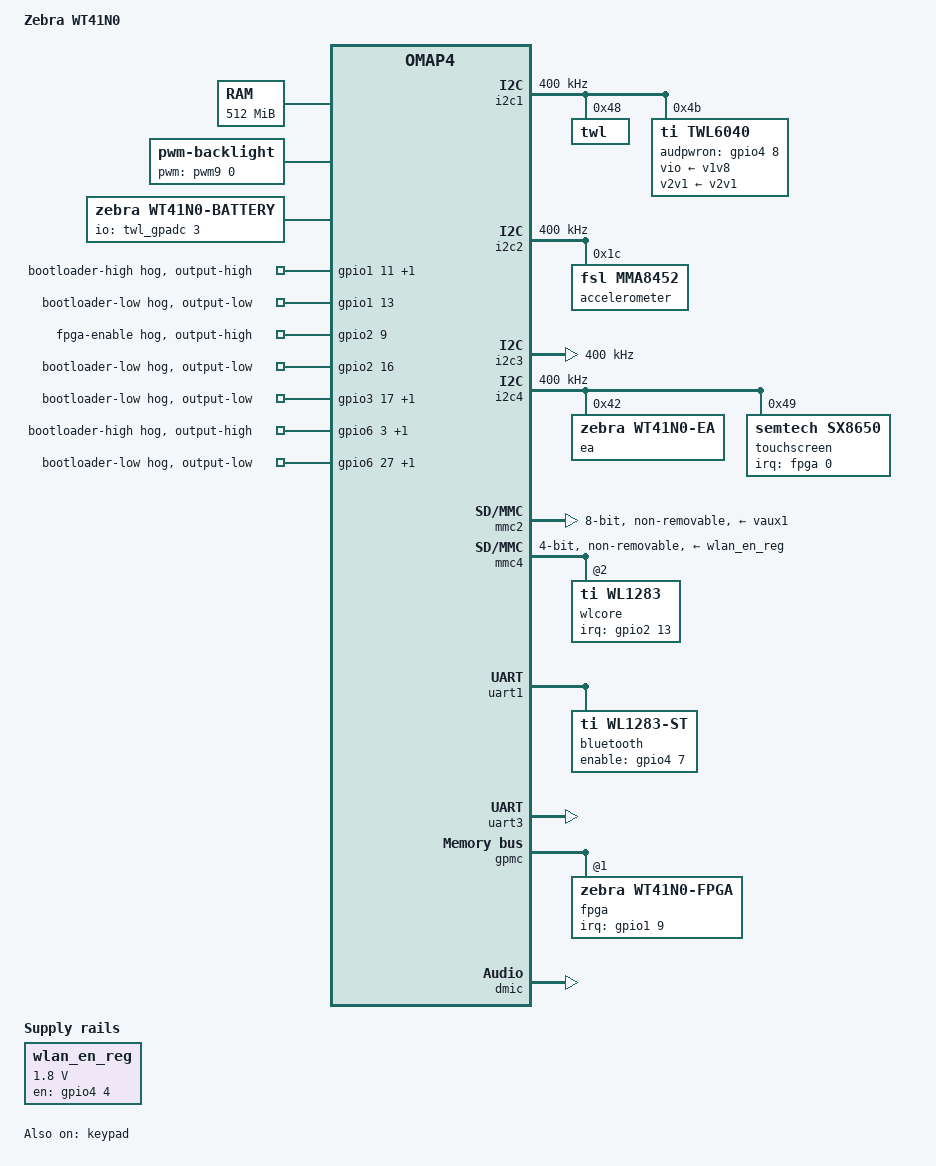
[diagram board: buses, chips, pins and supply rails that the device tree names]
// SPDX-License-Identifier: GPL-2.0
/*
 * Zebra / Symbol WT41N0 wearable terminal (TI OMAP4430 ES2.3, 512 MiB).
 *
 * The board is started by the Symbol monitor through a small loader, not by
 * U-Boot: pads, DDR, the display controller and the LCD are left as the stock
 * bootloader configured them, and this file relies on that state. There are
 * deliberately almost no pinmux entries.
 *
 * Hardware reference: docs/hardware.md in the WT41N0 Buildroot BSP.
 */
/dts-v1/;

#include "omap443x.dtsi"
#include <dt-bindings/gpio/gpio.h>
#include <dt-bindings/interrupt-controller/irq.h>
#include <dt-bindings/input/input.h>

/ {
	model = "Zebra WT41N0";
	compatible = "zebra,wt41n0", "ti,omap4430", "ti,omap4";

	memory@80000000 {
		device_type = "memory";
		reg = <0x80000000 0x20000000>;
	};

	aliases {
		serial2 = &uart3;
		display0 = &framebuffer;
	};

	reserved-memory {
		#address-cells = <1>;
		#size-cells = <1>;
		ranges;

		remoteproc_region: remoteproc@96b00000 {
			reg = <0x96b00000 0x500000>;
			no-map;
		};

		/* 0x25800 bytes of framebuffer plus the scratch block of the
		 * low-level LCD debug console, rounded up to 256 KiB. */
		framebuffer_region: framebuffer@9b000000 {
			reg = <0x9b000000 0x40000>;
			no-map;
		};
	};

	chosen {
		#address-cells = <1>;
		#size-cells = <1>;
		ranges;		/* required so the framebuffer reg becomes a resource */
		stdout-path = "display0";
		/*
		 * Fixed part of the command line; the BSP's post-image script
		 * appends the verbosity options and sets linux,initrd-end.
		 *  - cpuidle.off=1: no broadcast clockevent yet, deep idle
		 *    states lose timers.
		 *  - fbcon rotate:3: the 320x240 panel is scanned out of a
		 *    240x320 buffer rotated by 90 degrees.
		 *  - clk_ignore_unused / pd_ignore_unused: the display runs on
		 *    clocks and domains the bootloader enabled; never gate them.
		 *  - cpufreq.default_governor=userspace: the CPU stays at the
		 *    bootloader's 600 MHz until S01cpufreq has set the voltage the
		 *    faster speeds need (see &cpu0 below).
		 */
		bootargs = "cpuidle.off=1 console=tty1 fbcon=font:VGA8x8,rotate:3 clk_ignore_unused pd_ignore_unused cpufreq.default_governor=userspace";
		linux,initrd-start = <0x89000000>;
		linux,initrd-end = <0x89000000>;	/* set by post-image */

		framebuffer: framebuffer@9b000000 {
			compatible = "simple-framebuffer";
			reg = <0x9b000000 0x25800>;
			width = <240>;
			height = <320>;
			stride = <480>;
			format = "r5g6b5";
			/* Hold every DSS clock the bootloader left running. */
			clocks = <&l3_dss_clkctrl OMAP4_DSS_CORE_CLKCTRL 0>,
				 <&l3_dss_clkctrl OMAP4_DSS_CORE_CLKCTRL 8>,
				 <&l3_dss_clkctrl OMAP4_DSS_CORE_CLKCTRL 9>,
				 <&l3_dss_clkctrl OMAP4_DSS_CORE_CLKCTRL 10>,
				 <&l3_dss_clkctrl OMAP4_DSS_CORE_CLKCTRL 11>;
			power-domains = <&prm_dss>;
		};
	};

	/* LCD backlight: timer 9 PWM at 180 Hz from the 38.4 MHz system
	 * clock, high time = brightness, 2 to 98 % duty. */
	pwm9: pwm-9 {
		compatible = "ti,omap-dmtimer-pwm";
		#pwm-cells = <3>;
		ti,timers = <&timer9>;
		ti,clock-source = <0x00>;		/* OMAP_TIMER_SRC_SYS_CLK */
		pinctrl-names = "default";
		pinctrl-0 = <&backlight_pwm_pins>;
	};

	backlight: backlight {
		compatible = "pwm-backlight";
		pwms = <&pwm9 0 5555555 0>;	/* 180 Hz */
		brightness-levels = <0 2 5 10 15 20 25 30 35 40 45 50 55 60 66 75 85 98>;
		default-brightness-level = <14>;	/* 66 % */
	};

	/* Battery and charger: TWL6030 charger, External Agent, battery voltage on PMIC ADC input 3 */
	battery {
		compatible = "zebra,wt41n0-battery";
		io-channels = <&twl_gpadc 3>;
		io-channel-names = "vbat";
		zebra,external-agent = <&ea>;
	};

	/* WL1283 Wi-Fi enable, OMAP GPIO 100 */
	wlan_en_reg: regulator-wlan-en {
		compatible = "regulator-fixed";
		regulator-name = "wlan-en";
		regulator-min-microvolt = <1800000>;
		regulator-max-microvolt = <1800000>;
		gpio = <&gpio4 4 GPIO_ACTIVE_HIGH>;
		startup-delay-us = <70000>;
		enable-active-high;
	};

	/*
	 * Audio: TWL6040 over McPDM. The built-in speaker hangs off the
	 * codec's AUXL/AUXR line outputs through an external amplifier; the
	 * handsfree class-D outputs are not connected. Speaker audio is McPDM
	 * channels 3 and 4. Headset on HSOL/HSOR, built-in microphone on DMIC1.
	 */
	sound: sound {
		compatible = "ti,abe-twl6040";
		ti,model = "WT41N0";
		ti,jack-detection;
		ti,mclk-freq = <38400000>;
		ti,mcpdm = <&mcpdm>;
		ti,dmic = <&dmic>;
		ti,twl6040 = <&twl6040>;
		ti,audio-routing =
			"Headset Stereophone", "HSOL",
			"Headset Stereophone", "HSOR",
			/* built-in speaker (external amplifier on the AUX outputs) */
			"Line Out", "AUXL",
			"Line Out", "AUXR",
			"HSMIC", "Headset Mic",
			"Headset Mic", "Headset Mic Bias";
		/* the DMIC routes are added by the machine driver itself */
	};
};

/*
 * Keep the kernel away from the display subsystem: probing the DSS target
 * module resets it and gates its clocks, which blanks the LCD. The panel keeps
 * running as the bootloader set it up and is used through simple-framebuffer.
 */
&{/ocp/target-module@58000000} {
	status = "disabled";
};

/* ---- PMIC and audio codec on I2C1 ------------------------------------------ */

/*
 * CPU speeds. Nothing in Linux scales VDD_MPU on OMAP4 (no cpu0-supply), so this
 * board does what the PandaBoard's U-Boot does: VDD_MPU is set once to 1.325 V,
 * enough for OPP-Turbo (800 MHz), and cpufreq only changes the clock. S01cpufreq
 * writes that voltage, then starts the ondemand governor. OPP-Nitro (1008 MHz)
 * also needs 1.375 V and the ABB in forward body bias, so it is left out. The
 * voltages below are TI's nominal ones; with no supply cpufreq-dt ignores them.
 */
&cpu0 {
	/delete-property/ operating-points;
	operating-points = <
		/* kHz    uV */
		300000  1025000
		600000  1200000
		800000  1313000
	>;
};

&i2c1 {
	status = "okay";
	clock-frequency = <400000>;

	twl: twl@48 {
		reg = <0x48>;
		/* IRQ_SYS_1N cascaded to the GIC */
		interrupts = <GIC_SPI 7 IRQ_TYPE_LEVEL_HIGH>;
		system-power-controller;
		#clock-cells = <1>;	/* 0 = clk32kg, 1 = clk32kaudio */
	};

	twl6040: twl@4b {
		compatible = "ti,twl6040";
		#clock-cells = <0>;
		reg = <0x4b>;
		/* IRQ_SYS_2N */
		interrupts = <GIC_SPI 119 IRQ_TYPE_LEVEL_HIGH>;
		/* codec power enable: GPIO 104 */
		ti,audpwron-gpio = <&gpio4 8 GPIO_ACTIVE_HIGH>;
		vio-supply = <&v1v8>;
		v2v1-supply = <&v2v1>;
		enable-active-high;
		/* The codec does not power up without the PMIC's CLK32KAUDIO. */
		clocks = <&twl 1>;
		clock-names = "clk32k";
	};
};

#include "omap4-mcpdm.dtsi"
#include "twl6030.dtsi"
#include "twl6030_omap4.dtsi"

/* Power button on the PMIC's PWRON pin: KEY_POWER input events. */
&twl {
	twl_gpadc: gpadc {
	};

	pwrbutton {
		compatible = "ti,twl6030-pwrbutton";
		interrupts = <0>;		/* PWRON */
	};
};

/*
 * Keep every PMIC rail as the bootloader left it. Which rails feed the LCD
 * panel, eMMC and radio is not fully mapped, and the regulator framework's
 * "disable unused" pass blanks the panel otherwise.
 */
&vaux1 {
	regulator-always-on;
};

&vaux2 {
	regulator-always-on;
};

/* VAUX3: off in the bootloader state, programmed to 2.8 V, consumer unknown.
 * Its voltage selector is outside the driver's table, so leave it alone. */
&vaux3 {
	status = "disabled";
};

&vmmc {
	regulator-always-on;
};

&vpp {
	regulator-always-on;
};

&vusim {
	regulator-always-on;
};

&vdac {
	regulator-always-on;
};

&vana {
	regulator-always-on;
};

&vcxio {
	regulator-always-on;
};

&vusb {
	regulator-always-on;
};

&v1v8 {
	regulator-always-on;
};

&v2v1 {
	regulator-always-on;
};

/* ---- other I2C buses ----------------------------------------------------- */

&i2c2 {
	status = "okay";
	clock-frequency = <400000>;

	/* Interrupt line unknown: IIO raw reads only. */
	accelerometer@1c {
		compatible = "fsl,mma8452";
		reg = <0x1c>;
	};
};

/* Nothing known on I2C3. */
&i2c3 {
	status = "okay";
	clock-frequency = <400000>;
};

&i2c4 {
	status = "okay";
	clock-frequency = <400000>;

	/* External Agent MCU (Atmel XMEGA): body LEDs, battery and charger
	 * manager, wake timer. Driver: drivers/leds/leds-wt41n0-ea.c. */
	ea: ea@42 {
		compatible = "zebra,wt41n0-ea";
		reg = <0x42>;
	};

	/* Resistive touch controller, pen interrupt = FPGA source 0. Units
	 * without a touch panel just fail this probe. */
	touchscreen@49 {
		compatible = "semtech,sx8650";
		reg = <0x49>;
		interrupt-parent = <&fpga>;
		interrupts = <0 IRQ_TYPE_EDGE_FALLING>;
	};
};

/* ---- keypad ---------------------------------------------------------------- */

/*
 * OMAP4 keypad controller, 8x8 matrix. Generated by support/keymap.py --dts.
 * The colour layers (letters, symbols) are a console keymap loaded at boot,
 * not part of this table.
 */
&keypad {
	status = "okay";
	keypad,num-rows = <8>;
	keypad,num-columns = <8>;
	linux,input-no-autorepeat;
	linux,keymap = <
		MATRIX_KEY(3, 7, 1)	/* ESC */
		MATRIX_KEY(2, 7, 15)	/* MENU_TAB */
		MATRIX_KEY(1, 7, 29)	/* ALT_CTRL */
		MATRIX_KEY(0, 7, 42)	/* SHIFT */
		MATRIX_KEY(3, 6, 56)	/* BLUE */
		MATRIX_KEY(0, 0, 2)	/* K1_AB */
		MATRIX_KEY(2, 2, 3)	/* K2_CD */
		MATRIX_KEY(1, 2, 4)	/* K3_EF */
		MATRIX_KEY(3, 5, 5)	/* K4_GH */
		MATRIX_KEY(3, 4, 6)	/* K5_IJ */
		MATRIX_KEY(3, 3, 7)	/* K6_KL */
		MATRIX_KEY(2, 5, 8)	/* K7_MN */
		MATRIX_KEY(2, 4, 9)	/* K8_OP */
		MATRIX_KEY(1, 0, 10)	/* K9_QR */
		MATRIX_KEY(1, 5, 14)	/* SPACE_ST */
		MATRIX_KEY(1, 4, 11)	/* K0_UV */
		MATRIX_KEY(1, 3, 103)	/* ARROW_WX */
		MATRIX_KEY(0, 3, 108)	/* ARROW_YZ */
		MATRIX_KEY(0, 5, 100)	/* BIG_ORANGE */
		MATRIX_KEY(0, 4, 58)	/* BIG_GRAY */
		MATRIX_KEY(2, 6, 53)	/* P1 */
		MATRIX_KEY(1, 6, 52)	/* P2 */
		MATRIX_KEY(0, 6, 28)	/* ENTER */
	>;
};

/* ---- storage, Wi-Fi, Bluetooth, USB, UART ---------------------------------- */

/*
 * eMMC on MMC2 (8-bit, VAUX1 at 3.0 V). It holds the Symbol monitor, its
 * partition layout and this OS image: treat it as read-only unless you know
 * the layout.
 */
&mmc2 {
	status = "okay";
	vmmc-supply = <&vaux1>;
	bus-width = <8>;
	ti,non-removable;
	non-removable;
	no-sd;
	no-sdio;
};

/* TI WL1283 Wi-Fi on MMC4: IRQ GPIO 45, 26 MHz reference. */
&mmc4 {
	status = "okay";
	vmmc-supply = <&wlan_en_reg>;
	bus-width = <4>;
	ti,non-removable;
	non-removable;
	cap-power-off-card;
	#address-cells = <1>;
	#size-cells = <0>;

	wlcore: wlcore@2 {
		compatible = "ti,wl1283";
		reg = <2>;
		interrupt-parent = <&gpio2>;
		interrupts = <13 IRQ_TYPE_LEVEL_HIGH>;	/* OMAP GPIO 45 */
		ref-clock-frequency = <26000000>;
		tcxo-clock-frequency = <26000000>;
	};
};

/* TI WL1283 Bluetooth on UART1. Needs the init script TIInit_10.6.15.bts;
 * post-image.sh disables this node when the image has none. */
&uart1 {
	status = "okay";

	bluetooth {
		compatible = "ti,wl1283-st";
		enable-gpios = <&gpio4 7 GPIO_ACTIVE_HIGH>;	/* OMAP GPIO 103 */
		max-speed = <3000000>;
	};
};

&uart3 {
	status = "okay";
};

&twl_usb_comparator {
	usb-supply = <&vusb>;
};

/* USB device port (cradle / cable). High-speed enumeration fails on this
 * port (ep0 SetupEnd errors); full speed is reliable. */
&usb_otg_hs {
	interface-type = <1>;
	mode = <3>;
	power = <50>;
	maximum-speed = "full-speed";
};

/* ---- FPGA ------------------------------------------------------------------ */

/*
 * FPGA (Actel IGLOO+) on GPMC CS1: 16 MiB window at 0x02000000, 16-bit,
 * address/data multiplexed, interrupt output on GPIO 9. The timings give
 * CONFIG1..6 = 0x01801110 0x00141801 0x33070715 0x0E079718 0x00171418
 * 0x8D080000. Driver: drivers/misc/wt41n0-fpga.c.
 */
&gpmc {
	status = "okay";
	ranges = <1 0 0x02000000 0x01000000>;	/* CS1 */

	fpga: fpga@1,0 {
		compatible = "zebra,wt41n0-fpga";
		reg = <1 0 0x1000000>;
		interrupt-parent = <&gpio1>;
		interrupts = <9 IRQ_TYPE_EDGE_RISING>;
		interrupt-controller;
		#interrupt-cells = <2>;
		/* outputs: 0 accessory power, 1 accessory "scan", 2/3 keypad
		 * CTRL/FUNC LED outputs, 4 audio amplifier, 5 accessory serial */
		gpio-controller;
		#gpio-cells = <2>;

		gpmc,device-width = <2>;
		gpmc,mux-add-data = <1>;		/* AAD multiplexed */
		/*
		 * CONFIG1 bit 4 set: one count = 2 x 5 ns fclk ticks. The -ns
		 * values below are raw 5 ns ticks, because the GPMC driver
		 * ignores the granularity bit when it converts them.
		 */
		gpmc,time-para-granularity;
		gpmc,cs-on-ns = <5>;
		gpmc,cs-rd-off-ns = <120>;
		gpmc,cs-wr-off-ns = <100>;
		gpmc,adv-aad-mux-on-ns = <5>;
		gpmc,adv-on-ns = <25>;
		gpmc,adv-rd-off-ns = <35>;
		gpmc,adv-wr-off-ns = <35>;
		gpmc,adv-aad-mux-rd-off-ns = <15>;
		gpmc,adv-aad-mux-wr-off-ns = <15>;
		gpmc,oe-on-ns = <40>;
		gpmc,oe-aad-mux-on-ns = <5>;
		gpmc,oe-off-ns = <115>;
		gpmc,oe-aad-mux-off-ns = <20>;
		gpmc,we-on-ns = <35>;
		gpmc,we-off-ns = <70>;
		gpmc,rd-cycle-ns = <120>;
		gpmc,wr-cycle-ns = <100>;
		gpmc,access-ns = <115>;
		gpmc,wr-access-ns = <65>;
		gpmc,wr-data-mux-bus-ns = <40>;
	};
};

/* ---- GPIO outputs ---------------------------------------------------------- */

/*
 * GPIO outputs the bootloader drives. The kernel resets the GPIO modules, so
 * these hogs restore the bootloader state. GPIO 41 is the FPGA enable (low
 * holds the FPGA in reset, which also blanks the LCD panel). The purpose of the
 * other lines is unknown; they are kept at their bootloader levels. The
 * bootloader also drives GPIO 122 high (backlight full on); that pad is muxed
 * to the timer 9 PWM output instead.
 */
&gpio1 {
	boot-high-hog {
		gpio-hog;
		gpios = <11 GPIO_ACTIVE_HIGH>, <12 GPIO_ACTIVE_HIGH>;
		output-high;
		line-name = "bootloader-high";
	};
	boot-low-hog {
		gpio-hog;
		gpios = <13 GPIO_ACTIVE_HIGH>;
		output-low;
		line-name = "bootloader-low";
	};
};

&gpio2 {
	boot-high-hog {
		gpio-hog;
		gpios = <9 GPIO_ACTIVE_HIGH>;		/* gpio 41 */
		output-high;
		line-name = "fpga-enable";
	};
	boot-low-hog {
		gpio-hog;
		gpios = <16 GPIO_ACTIVE_HIGH>;		/* gpio 48 */
		output-low;
		line-name = "bootloader-low";
	};
};

&gpio3 {
	boot-low-hog {
		gpio-hog;
		gpios = <17 GPIO_ACTIVE_HIGH>, <19 GPIO_ACTIVE_HIGH>;	/* gpio 81, 83 */
		output-low;
		line-name = "bootloader-low";
	};
};

&gpio6 {
	boot-high-hog {
		gpio-hog;
		gpios = <3 GPIO_ACTIVE_HIGH>, <24 GPIO_ACTIVE_HIGH>;	/* gpio 163, 184 */
		output-high;
		line-name = "bootloader-high";
	};
	boot-low-hog {
		gpio-hog;
		gpios = <27 GPIO_ACTIVE_HIGH>, <28 GPIO_ACTIVE_HIGH>;	/* gpio 187, 188 */
		output-low;
		line-name = "bootloader-low";
	};
};

/* ---- pin multiplexing ------------------------------------------------------- */

&omap4_pmx_core {
	/* abe_dmic_din3 (gpio_122) carries dmtimer9_pwm_evt in mux mode 5. */
	backlight_pwm_pins: backlight-pwm-pins {
		pinctrl-single,pins = <
			OMAP4_IOPAD(0x116, PIN_OUTPUT | MUX_MODE5)	/* abe_dmic_din3.dmtimer9_pwm_evt */
		>;
	};

	dmic_pins: dmic-pins {
		pinctrl-single,pins = <
			OMAP4_IOPAD(0x110, PIN_OUTPUT | MUX_MODE0)		/* abe_dmic_clk1 */
			OMAP4_IOPAD(0x112, PIN_INPUT_PULLDOWN | MUX_MODE0)	/* abe_dmic_din1 */
		>;
	};
};

&dmic {
	pinctrl-names = "default";
	pinctrl-0 = <&dmic_pins>;
	status = "okay";
};
